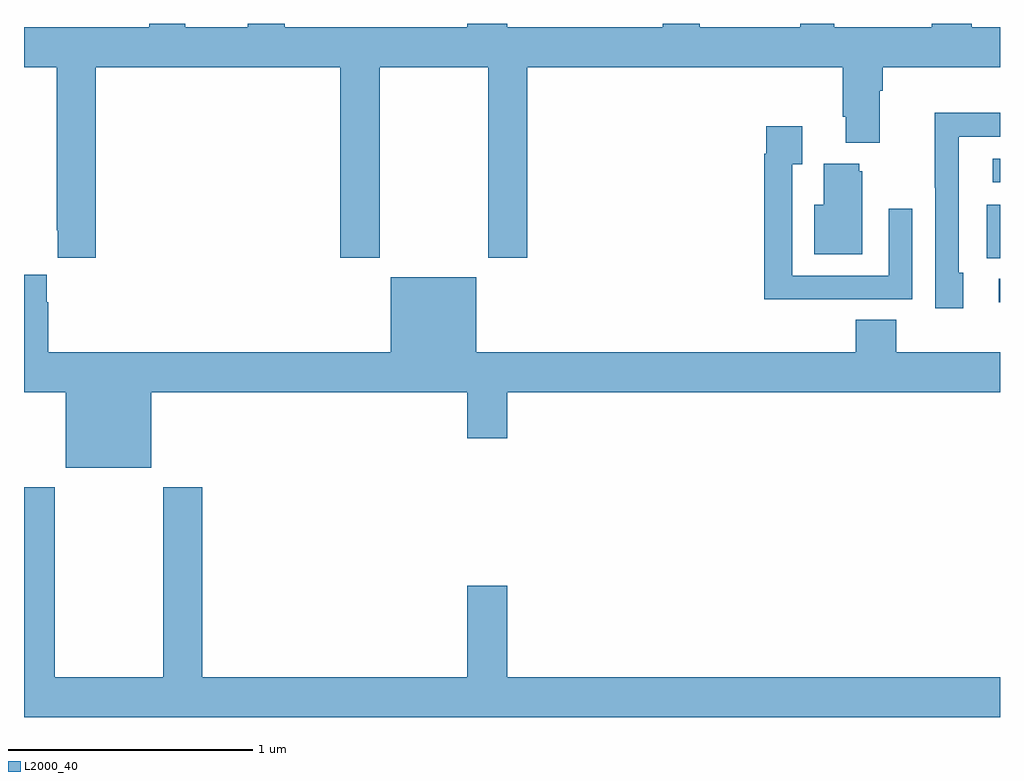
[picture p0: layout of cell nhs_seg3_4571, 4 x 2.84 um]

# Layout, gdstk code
import gdstk
lib = gdstk.Library(unit=1e-6, precision=1e-09)
def R(c, l, rs):  # rectangles x0, y0, x1, y1
    for r in rs: c.add(gdstk.rectangle(r[:2], r[2:], *l))
def P(c, l, *ps):  # polygons
    for p in ps: c.add(gdstk.Polygon(p, *l))
L2000_40 = (2000, 40)

nhs_seg3_4571 = lib.new_cell('nhs_seg3_4571')
R(nhs_seg3_4571, L2000_40, [(358.995,729.257,359,729.354), (358.946,729.439,359,729.658), (358.971,729.75,359,729.846)])
P(nhs_seg3_4571, L2000_40, [(355.295,730.22),(356.297,730.22),(356.297,729.441),(356.457,729.441),(356.457,730.22),(356.902,730.22),(356.902,729.441),(357.062,729.441),(357.062,730.22),(358.355,730.22),(358.355,730.018),(358.367,730.018),(358.367,729.911),(358.507,729.911),(358.507,730.124),(358.52,730.124),(358.52,730.22),(359,730.22),(359,730.384),(358.885,730.384),(358.885,730.4),(358.721,730.4),(358.721,730.384),(358.321,730.384),(358.321,730.4),(358.181,730.4),(358.181,730.384),(357.769,730.384),(357.769,730.4),(357.617,730.4),(357.617,730.384),(356.98,730.384),(356.98,730.4),(356.816,730.4),(356.816,730.384),(356.069,730.384),(356.069,730.4),(355.916,730.4),(355.916,730.384),(355.66,730.384),(355.66,730.4),(355.513,730.4),(355.513,730.384),(355,730.384),(355,730.22),(355.135,730.22),(355.135,729.553),(355.139,729.553),(355.139,729.441),(355.295,729.441)],
  [(358.849,729.378),(358.83,729.378),(358.83,729.936),(359,729.936),(359,730.034),(358.732,730.034),(358.732,729.727),(358.734,729.727),(358.734,729.234),(358.849,729.234)],
  [(358.325,729.27),(358.641,729.27),(358.641,729.64),(358.545,729.64),(358.545,729.366),(358.149,729.366),(358.149,729.823),(358.189,729.823),(358.189,729.979),(358.041,729.979),(358.041,729.866),(358.033,729.866),(358.033,729.269),(358.325,729.269)],
  [(358.435,729.795),(358.424,729.795),(358.424,729.826),(358.277,729.826),(358.277,729.658),(358.238,729.658),(358.238,729.455),(358.435,729.455)],
  [(355.522,728.888),(356.816,728.888),(356.816,728.7),(356.98,728.7),(356.98,728.888),(359,728.888),(359,729.052),(358.574,729.052),(358.574,729.185),(358.409,729.185),(358.409,729.052),(356.854,729.052),(356.854,729.361),(356.504,729.361),(356.504,729.052),(355.1,729.052),(355.1,729.257),(355.093,729.257),(355.093,729.37),(355,729.37),(355,728.888),(355.172,728.888),(355.172,728.579),(355.522,728.579)],
  [(359,727.72),(356.98,727.72),(356.98,728.095),(356.816,728.095),(356.816,727.72),(355.73,727.72),(355.73,728.5),(355.57,728.5),(355.57,727.72),(355.125,727.72),(355.125,728.5),(355,728.5),(355,727.556),(359,727.556)])

lib.write_gds('nhs_seg3_4571.gds')
